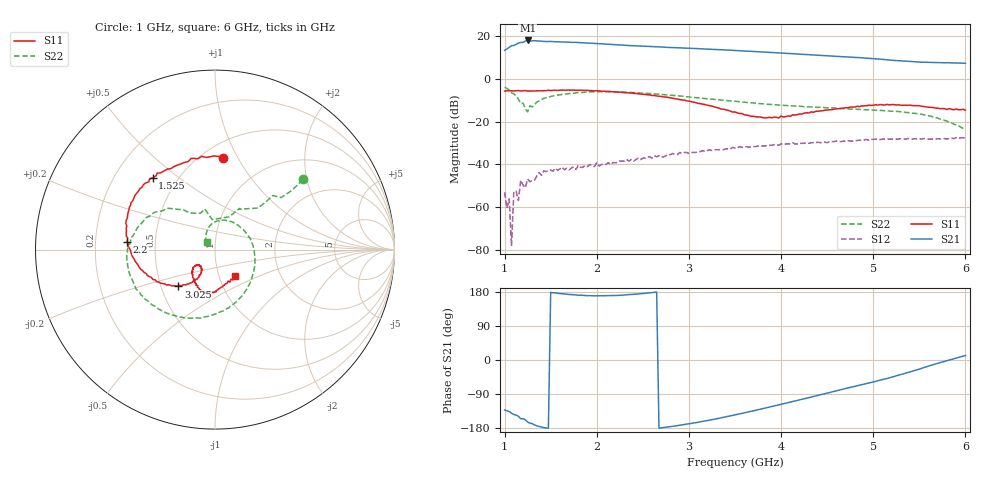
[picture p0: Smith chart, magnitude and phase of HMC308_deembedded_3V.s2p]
!Hittite Microwave Corporation
!12 Elizabeth Drive
!Chelmsford Massachusetts 01824
!Tel: 978 250-3343
!Fax: 978 250-3373
!Device: HMC308, 1.3-3 GHz GaAs Amplifier
!Misc: Vdd = 3V, ROOM TEMP , DEEMBEDDED TO THE PINS OF THE DEVICE
# MHZ S MA R 50
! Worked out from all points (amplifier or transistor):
!   201 points, 1 GHz to 6 GHz, reference 50 ohm
!   highest |S21| = 17.8 dB at 1.25 GHz (marker M1)
!   |S21| within 3 dB of that: 1.057 GHz to 2.666 GHz (1.61 GHz wide, 86.5 % of centre)
!   unconditionally stable (mu >= 1): start of sweep to end of sweep
!   at 1.825 GHz: K = 5.05, MAG = 19.1 dB, |S12| = -41.4 dB
!   at 3.5 GHz: K = 4.18, MAG = 13.6 dB, |S12| = -32.4 dB
!   at 6 GHz: K = 5.22, MAG = 7.3 dB, |S12| = -27.7 dB
!   S11 on the Smith chart (normalised r, x): 1 GHz: 0.63, +0.87; 1.525 GHz: 0.36, +0.40; 2.2 GHz: 0.34, +0.04; 3.025 GHz: 0.61, -0.28; 6 GHz: 1.19, -0.36
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1000  0.512 85.3  4.554 -132.0  0.002249 20.7  0.626 38.8
1025  0.52 88.2  4.889 -133.8  0.0009587 -132.0  0.592 38.1
1050  0.522 90.9  5.349 -135.8  0.001568 -53.2  0.537 37.6
1075  0.52 91.6  5.803 -140.4  0.0001248 -79.3  0.469 38.2
1100  0.516 95.1  5.921 -143.8  0.002355 -82.0  0.441 43.1
1150  0.525 98.0  6.731 -148.5  0.001446 -60.8  0.333 44.1
1175  0.515 100.8  6.953 -155.2  0.004312 -49.4  0.263 58.8
1200  0.522 103.2  6.97 -154.9  0.003275 -39.8  0.267 59.2
1225  0.525 104.8  7.453 -157.8  0.00287 -52.4  0.199 66.6
1250  0.513 106.8  7.727 -163.6  0.004576 -26.8  0.168 95.4
1275  0.515 109.6  7.34 -166.7  0.003937 -48.0  0.233 104.0
1350  0.516 116.1  7.536 -173.8  0.005397 -52.7  0.284 128.6
1525  0.53 131.0  7.236 177.4  0.006959 -50.6  0.394 148.0
1850  0.531 152.3  6.842 170.6  0.008644 -43.5  0.475 175.7
2200  0.491 174.8  6.148 170.2  0.011 -14.6  0.49 -157.6
2675  0.387 -156.6  5.459 -179.7  0.016 14.6  0.431 -121.5
3025  0.289 -134.8  5.059 -167.5  0.019 41.3  0.368 -94.1
3500  0.167 -120.0  4.509 -145.0  0.024 81.4  0.295 -58.1
3925  0.127 -135.9  4.02 -121.0  0.029 115.2  0.247 -28.8
4350  0.164 -138.4  3.552 -96.3  0.032 152.5  0.217 -0.2
5175  0.244 -102.9  2.705 -46.9  0.039 -142.5  0.176 66.9
6000  0.184 -53.1  2.271 11.8  0.041 -69.9  0.064 137.0
